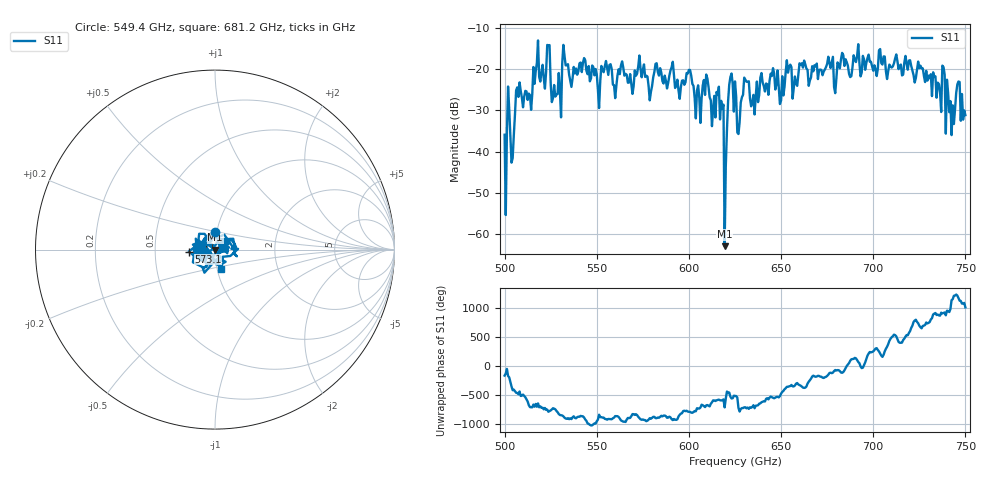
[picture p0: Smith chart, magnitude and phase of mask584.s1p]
!Created with skrf (http://scikit-rf.org).
# GHz S MA R 50.0
!freq magS11 angS11
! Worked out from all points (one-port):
!   401 points, 500 GHz to 750 GHz, reference 50 ohm
!   lowest |S11| = -63.0 dB at 619.4 GHz (marker M1), VSWR 1.00, Z = 50.1 + j0.0103 ohm
!   |S11| at or under -10 dB: start of sweep to end of sweep
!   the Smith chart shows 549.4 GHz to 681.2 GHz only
!   S11 on the Smith chart (normalised r, x): 549.4 GHz: 0.98, +0.20; 573.1 GHz: 0.74, -0.02; 681.2 GHz: 1.04, -0.23
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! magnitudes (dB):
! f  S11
! 500 GHz  -35.9
! 502.5 GHz  -29.7
! 504.4 GHz  -41.6
! 507.5 GHz  -26.7
! 513.8 GHz  -26.3
! 516.9 GHz  -20.5
! 523.8 GHz  -14.2
! 526.9 GHz  -23.8
! 531.2 GHz  -18.7
! 549.4 GHz  -19.9
! 562.5 GHz  -21.2
! 573.1 GHz  -16.7
! 593.8 GHz  -22.5
! 600 GHz  -20.2
! 605 GHz  -23.9
! 608.8 GHz  -26.2
! 616.2 GHz  -24.2
! 619.4 GHz  -63.0
! 620.6 GHz  -34.9
! 622.5 GHz  -21.9
! 625 GHz  -23.0
! 627.5 GHz  -32.9
! 631.2 GHz  -23.0
! 656.2 GHz  -27.1
! 681.2 GHz  -19.0
! 687.5 GHz  -21.9
! 718.8 GHz  -20.1
! 750 GHz  -31.2
